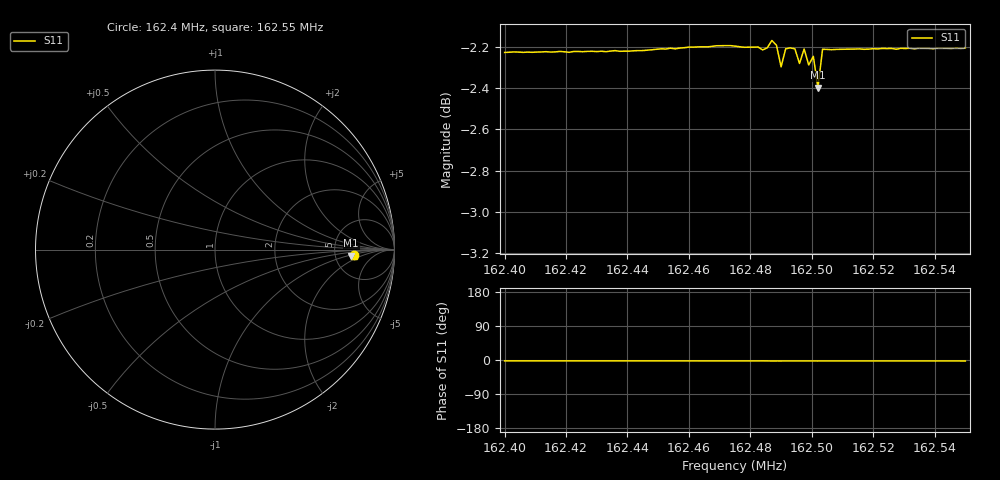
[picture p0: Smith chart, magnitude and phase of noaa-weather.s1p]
! Calibrated averaged scanner-service zoom
# Hz S RI R 50
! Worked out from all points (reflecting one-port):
!   101 points, 162.4 MHz to 162.55 MHz, reference 50 ohm
!   lowest |S11| = -2.4 dB at 162.502 MHz (marker M1), VSWR 7.29, Z = 355 - j57 ohm
!   phase of S11 starts at -2 deg and turns -0 deg over the sweep
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1.624e8  0.7733 -0.0303
1.624195e8  0.7736 -0.031
1.62436e8  0.7741 -0.0317
1.624375e8  0.7738 -0.0316
1.62457e8  0.7752 -0.0321
1.62469e8  0.7762 -0.0324
1.62475e8  0.776 -0.0326
1.62478e8  0.7755 -0.0328
1.624825e8  0.7756 -0.0328
1.62484e8  0.7744 -0.0317
1.624855e8  0.7753 -0.0331
1.62487e8  0.7783 -0.0364
1.624885e8  0.7763 -0.0347
1.6249e8  0.767 -0.0347
1.624915e8  0.7748 -0.0331
1.62493e8  0.7752 -0.0332
1.624945e8  0.7748 -0.0331
1.62496e8  0.7685 -0.0332
1.624975e8  0.7747 -0.0333
1.62499e8  0.7678 -0.0335
1.625005e8  0.7715 -0.0336
1.62502e8  0.7581 -0.034
1.625035e8  0.7746 -0.0334
1.625125e8  0.7747 -0.0337
1.62526e8  0.7749 -0.034
1.625275e8  0.7746 -0.0341
1.62532e8  0.775 -0.0342
1.6255e8  0.7751 -0.0348
